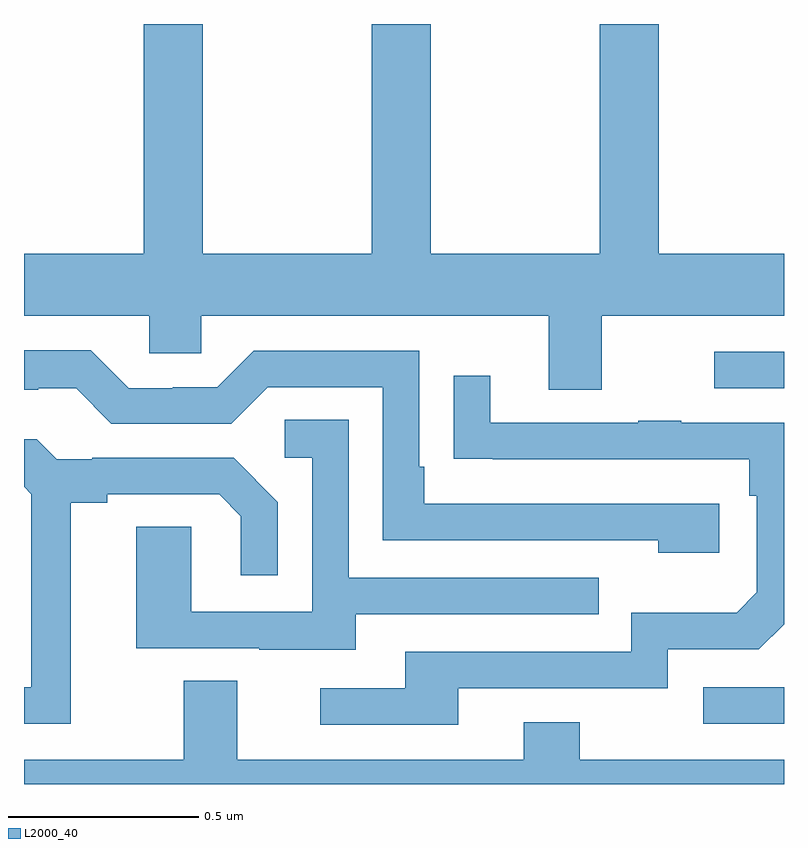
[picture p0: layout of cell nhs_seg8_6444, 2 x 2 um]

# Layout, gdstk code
import gdstk
lib = gdstk.Library(unit=1e-6, precision=1e-09)
def R(c, l, rs):  # rectangles x0, y0, x1, y1
    for r in rs: c.add(gdstk.rectangle(r[:2], r[2:], *l))
def P(c, l, *ps):  # polygons
    for p in ps: c.add(gdstk.Polygon(p, *l))
L2000_40 = (2000, 40)

nhs_seg8_6444 = lib.new_cell('nhs_seg8_6444')
R(nhs_seg8_6444, L2000_40, [(197.787,1150.059,198,1150.155), (197.817,1150.941,198,1151.037)])
P(nhs_seg8_6444, L2000_40, [(197.381,1150.938),(197.521,1150.938),(197.521,1151.132),(198,1151.132),(198,1151.296),(197.67,1151.296),(197.67,1151.9),(197.515,1151.9),(197.515,1151.296),(197.07,1151.296),(197.07,1151.9),(196.915,1151.9),(196.915,1151.296),(196.47,1151.296),(196.47,1151.9),(196.315,1151.9),(196.315,1151.296),(196,1151.296),(196,1151.132),(196.329,1151.132),(196.329,1151.034),(196.467,1151.034),(196.467,1151.132),(197.381,1151.132)],
  [(197.83,1150.638),(197.053,1150.638),(197.053,1150.735),(197.04,1150.735),(197.04,1151.04),(196.605,1151.04),(196.509,1150.944),(196.391,1150.944),(196.391,1150.941),(196.275,1150.941),(196.175,1151.041),(196,1151.041),(196,1150.937),(196.037,1150.937),(196.037,1150.941),(196.137,1150.941),(196.23,1150.848),(196.545,1150.848),(196.641,1150.944),(196.944,1150.944),(196.944,1150.542),(197.669,1150.542),(197.669,1150.508),(197.83,1150.508)],
  [(197.143,1150.152),(197.694,1150.152),(197.694,1150.254),(197.934,1150.254),(198,1150.32),(198,1150.851),(197.729,1150.851),(197.729,1150.856),(197.617,1150.856),(197.617,1150.851),(197.227,1150.851),(197.227,1150.975),(197.131,1150.975),(197.131,1150.756),(197.233,1150.756),(197.233,1150.755),(197.908,1150.755),(197.908,1150.658),(197.928,1150.658),(197.928,1150.404),(197.875,1150.351),(197.598,1150.351),(197.598,1150.248),(197.003,1150.248),(197.003,1150.152),(196.779,1150.152),(196.779,1150.056),(197.143,1150.056)],
  [(196.873,1150.347),(197.513,1150.347),(197.513,1150.443),(196.854,1150.443),(196.854,1150.859),(196.686,1150.859),(196.686,1150.758),(196.758,1150.758),(196.758,1150.353),(196.44,1150.353),(196.44,1150.577),(196.295,1150.577),(196.295,1150.257),(196.619,1150.257),(196.619,1150.253),(196.873,1150.253)],
  [(196.123,1150.64),(196.219,1150.64),(196.219,1150.662),(196.514,1150.662),(196.571,1150.605),(196.571,1150.449),(196.668,1150.449),(196.668,1150.642),(196.552,1150.758),(196.18,1150.758),(196.18,1150.755),(196.086,1150.755),(196.034,1150.807),(196,1150.807),(196,1150.682),(196.019,1150.663),(196.019,1150.155),(196,1150.155),(196,1150.059),(196.123,1150.059)],
  [(198,1149.964),(197.463,1149.964),(197.463,1150.063),(197.315,1150.063),(197.315,1149.964),(196.561,1149.964),(196.561,1150.172),(196.421,1150.172),(196.421,1149.964),(196,1149.964),(196,1149.9),(198,1149.9)])

lib.write_gds('nhs_seg8_6444.gds')
